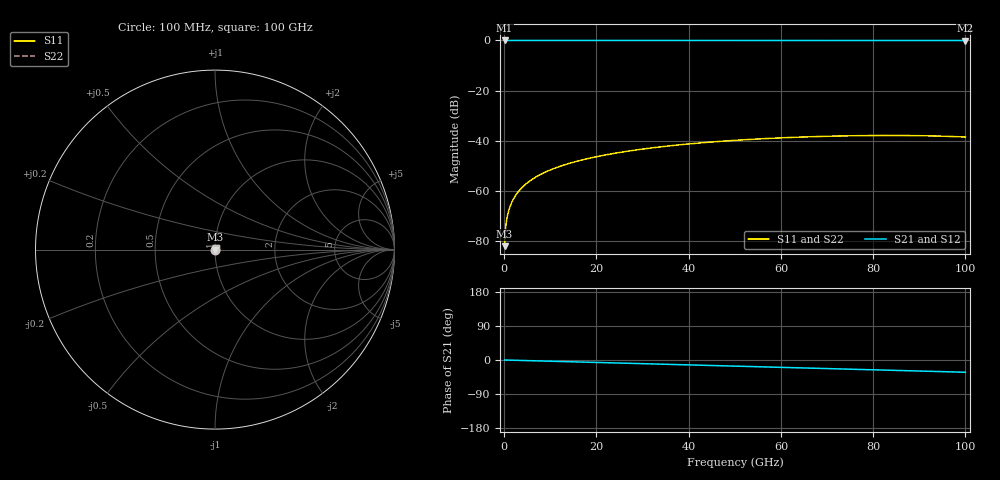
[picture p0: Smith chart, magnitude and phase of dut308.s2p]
! Touchstone file exported from HFSS 2026.1.0
!  File:  C:/ffzhzh/LocalFiles/Ansys_Project_Files/temp_train_TSV_308_1783509300_31944.aedt
!  Generated:  07:16:10 PM Jul  8, 2026
!  Design:  TSV
!  Project:  temp_train_TSV_308_1783509300_31944
! Variables:
!  h_bsmrdl = 2um
!  h_ox = 20um
!  h_rdl = 5um
!  h_sub = 58.59um
!  h_tmrdl = 5um
!  h_tsv = 58.59um
!  h_via = 3um
!  l_bsmrdl = 300um
!  l_sub = 429.12um
!  l_tmrdl = 200um
!  m_sub = 200um
!  pitch = 59.84um
!  r_tsv = 14.56um
!  s_tmrdl = 10um
!  w_bsmrdl = 18um
!  w_sub = 500um
!  w_tmrdl = 12um
!  x_tsv_center1 = 206um
!  x_tsv_center2 = 524um
!  x_tsv_center3 = 736um
!  x_tsv_center4 = 1054um
!  x_tsv_center5 = 1266um
!  x_tsv_center6 = 1584um
# GHz S MA R 50.000000
! Terminal data exported
! Port[1] = TSV1_1_T1
! Port[2] = TSV1_1_T2
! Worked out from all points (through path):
!   1000 points, 100 MHz to 100 GHz, reference 50 ohm
!   highest |S21| = 0.00 dB at 100 MHz (marker M1); lowest = 0.0 dB at 100 GHz (marker M2)
!   group delay of S21, straight-line fit = 897 fs
!   lowest |S11| = -81.9 dB at 100 MHz (marker M3), VSWR 1.00, Z = 50 + j0.00542 ohm
!   |S11| at or under -10 dB: start of sweep to end of sweep
!   |S22| runs from -81.9 to -37.8 dB; largest |S21 - S12| = 2.1e-15
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0.1  8.035e-05 42.5  0.9999 -0.0  0.9999 -0.0  8.035e-05 42.5
! Gamma 0 0 0 0
! Port Impedance 50 0 50 0
0.4  0.0002148 61.9  0.9999 -0.1  0.9999 -0.1  0.0002148 61.9
0.8  0.0003523 64.1  0.9998 -0.3  0.9998 -0.3  0.0003523 64.1
1.1  0.0004407 65.8  0.9998 -0.4  0.9998 -0.4  0.0004407 65.8
1.4  0.000526 67.3  0.9998 -0.5  0.9998 -0.5  0.000526 67.3
1.9  0.0006652 69.1  0.9998 -0.6  0.9998 -0.6  0.0006652 69.1
2.5  0.0008276 70.6  0.9997 -0.8  0.9997 -0.8  0.0008276 70.6
3.2  0.001011 71.7  0.9997 -1.0  0.9997 -1.0  0.001011 71.7
4.1  0.001238 72.7  0.9997 -1.3  0.9997 -1.3  0.001238 72.7
5.1  0.001483 73.5  0.9996 -1.7  0.9996 -1.7  0.001483 73.5
6.3  0.001772 74.2  0.9996 -2.0  0.9996 -2.0  0.001772 74.2
9.1  0.002432 75.0  0.9995 -2.9  0.9995 -2.9  0.002432 75.0
12.6  0.003234 75.1  0.9994 -4.1  0.9994 -4.1  0.003234 75.1
16.8  0.004161 74.8  0.9993 -5.4  0.9993 -5.4  0.004161 74.8
24.3  0.005743 73.8  0.9991 -7.8  0.9991 -7.8  0.005743 73.8
33.4  0.00753 71.8  0.999 -10.7  0.999 -10.7  0.00753 71.8
41.3  0.008929 69.8  0.9988 -13.3  0.9988 -13.3  0.008929 69.8
50.1  0.01029 67.3  0.9987 -16.1  0.9987 -16.1  0.01029 67.3
66.7  0.01214 62.3  0.9985 -21.5  0.9985 -21.5  0.01214 62.3
83.4  0.01285 57.0  0.9982 -26.9  0.9982 -26.9  0.01284 57.0
92  0.01263 54.1  0.9981 -29.7  0.9981 -29.7  0.01263 54.1
100  0.01195 51.4  0.9979 -32.3  0.9979 -32.3  0.01195 51.4
